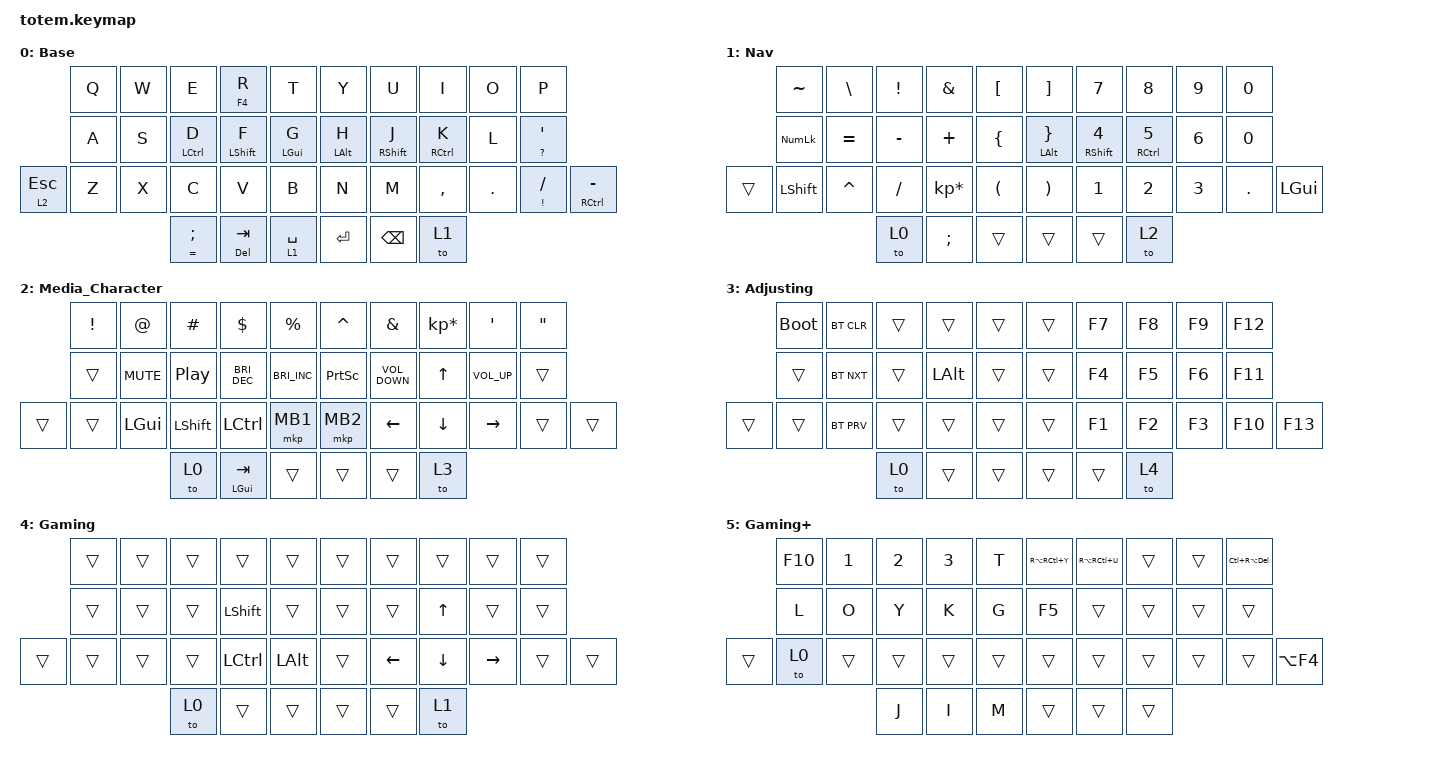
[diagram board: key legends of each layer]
//
//                                                        ▀▀▀▀▀     ▀▀▀▀▀          ▀▀█▀▀
//                                                        ▄▀▀▀▄  ▄  ▄▀▀▀▄  ▄  ▄▀▀▀▄  █  ▄▀▀▀▄
//                                                        █   █  █  █   █  █  █   █  █  █   █
//                                                         ▀▀▀   █   ▀▀▀   █   ▀▀▀   ▀   ▀▀▀
//                                                               █      ▄▄▄█▄▄▄    █   █  
//                                                               ▀      █  █  █     █▄█
//                                                             ▀▀▀▀▀    █  █  █      ▀
//                                                                      ▀  ▀  ▀
//
// ▄▄▄▄▄▄▄▄▄▄▄▄▄▄▄▄▄▄▄▄▄▄▄▄▄▄▄▄▄▄▄▄▄▄▄▄▄▄▄▄▄▄▄▄▄▄▄▄▄▄▄▄▄▄▄▄▄▄▄▄▄▄▄▄▄▄▄▄▄▄▄▄▄▄▄▄▄▄▄▄▄▄▄▄▄▄▄▄▄▄▄▄▄▄▄▄▄▄▄▄▄▄▄▄▄▄▄▄▄▄▄▄▄▄▄▄▄▄▄▄▄▄▄▄▄▄▄▄▄▄▄▄▄▄▄▄▄▄▄▄▄▄▄▄▄▄▄▄▄

#include <behaviors.dtsi>
#include <dt-bindings/zmk/bt.h>
#include <dt-bindings/zmk/keys.h>
#include <dt-bindings/zmk/mouse.h>

#define Base        0
#define Media       1
#define Nav         2
#define Mouse       3
#define Sym         4
#define Num         5
#define Fun         6
#define Button      7
#define Game        8
#define Gameplus    9

&mt {
    quick-tap-ms = <125>;
    global-quick-tap;
    flavor = "tap-preferred";
    tapping-term-ms = <215>;
};

&lt {
    tapping-term-ms = <240>;
    flavor = "balanced";
    quick-tap-ms = <150>;
};

/ {
    behaviors {
        hm: homerow_mods {
            compatible = "zmk,behavior-hold-tap";
            label = "HOMEROW_MODS";
            #binding-cells = <2>;
            flavor = "tap-preferred";
            tapping-term-ms = <215>;
            quick-tap-ms = <120>;
            global-quick-tap;
            bindings = <&kp>, <&kp>;
        };
    };

    combos {
        compatible = "zmk,combos";

        Copy {
            bindings = <&kp LC(C)>;
            key-positions = <23 22>;
        };

        Paste {
            bindings = <&kp LC(V)>;
            key-positions = <24 23>;
        };

        Undo {
            bindings = <&kp LC(Z)>;
            key-positions = <22 21>;
        };

        PrintScreen {
            bindings = <&kp PRINTSCREEN>;
            key-positions = <32 37>;
        };

        tab {
            bindings = <&kp TAB>;
            key-positions = <16 17>;
        };

        Windows {
            bindings = <&kp LEFT_GUI>;
            key-positions = <16 17 18>;
        };

        Control {
            bindings = <&kp LEFT_CONTROL>;
            key-positions = <17 18 19>;
        };

        up {
            bindings = <&kp UP_ARROW>;
            key-positions = <11 12 13>;
        };

        down {
            bindings = <&kp DOWN>;
            key-positions = <22 23 24>;
        };

        right {
            bindings = <&kp RIGHT>;
            key-positions = <12 13>;
        };

        left {
            bindings = <&kp LEFT>;
            key-positions = <11 12>;
        };

        ChangeLanguage {
            bindings = <&kp LG(SPACE)>;
            key-positions = <33 36>;
        };

        email {
            bindings = <&SchoolEmail>;
            key-positions = <12 13 16 17>;
        };

        personalemail {
            bindings = <&PersonalEmail>;
            key-positions = <11 13 16 18>;
        };

        semicolon {
            bindings = <&kp SEMICOLON>;
            key-positions = <12 17>;
        };
    };

    macros {
        SchoolEmail: email {
            compatible = "zmk,behavior-macro";
            #binding-cells = <0>;
            bindings = <&kp A &kp Y &kp N2 &kp N6 &kp N6 &kp N8 &kp AT &kp C &kp O &kp L &kp U &kp M &kp B &kp I &kp A &kp DOT &kp E &kp D &kp U>;
            label = "EMAIL";
        };

        PersonalEmail: PersonalEmail {
            compatible = "zmk,behavior-macro";
            #binding-cells = <0>;
            bindings = <&kp A &kp K &kp T &kp N1 &kp N2 &kp N1 &kp N5 &kp N8 &kp N0 &kp N1 &kp A &kp C &kp A &kp D &kp E &kp M &kp I &kp C &kp AT &kp G &kp M &kp A &kp I &kp L &kp DOT &kp C &kp O &kp M>;
            label = "PERSONALEMAIL";
        };
    };

    keymap {
        compatible = "zmk,keymap";

        Base {
            label = "Base";
            bindings = <
           &kp Q  &kp W  &kp E                &mt F4 R        &kp T             &kp Y           &kp U          &kp I        &kp O    &kp P
           &kp A  &kp S  &hm LCTRL D          &hm LSHIFT F    &hm LEFT_GUI G    &hm LEFT_ALT H  &hm RSHFT J    &hm RCTRL K  &kp L    &hm QUESTION SQT
&lt 2 ESC  &kp Z  &kp X  &kp C                &kp V           &kp B             &kp N           &kp M          &kp COMMA    &kp DOT  &mt EXCLAMATION SLASH  &hm RIGHT_CONTROL MINUS
                         &mt EQUAL SEMICOLON  &mt DELETE TAB  &lt 1 SPACE       &kp ENTER       &kp BACKSPACE  &to 1
            >;
        };

        Nav {
            label = "Nav";
            bindings = <
        &kp TILDE       &kp BACKSLASH  &kp EXCLAMATION  &kp AMPERSAND    &kp LEFT_BRACKET    &kp RIGHT_BRACKET         &kp NUMBER_7              &kp NUMBER_8          &kp NUMBER_9  &kp NUMBER_0
        &kp KP_NUM      &kp EQUAL      &kp MINUS        &kp PLUS         &kp LEFT_BRACE      &hm LEFT_ALT RIGHT_BRACE  &hm RIGHT_SHIFT NUMBER_4  &hm RIGHT_CONTROL N5  &kp N6        &kp N0
&trans  &kp LEFT_SHIFT  &kp CARET      &kp SLASH        &kp KP_MULTIPLY  &kp LPAR            &kp RPAR                  &kp NUMBER_1              &kp NUMBER_2          &kp NUMBER_3  &kp PERIOD    &kp LEFT_GUI
                                       &to 0            &kp SEMICOLON    &trans              &trans                    &trans                    &to 2
            >;
        };

        Media_Character {
            label = "Media_Character";
            bindings = <
        &kp EXCL  &kp AT        &kp HASH        &kp DOLLAR            &kp PERCENT             &kp CARET        &kp AMPERSAND      &kp KP_ASTERISK  &kp SQT          &kp DQT
        &trans    &kp C_MUTE    &kp C_PP        &kp C_BRIGHTNESS_DEC  &kp C_BRIGHTNESS_INC    &kp PRINTSCREEN  &kp C_VOLUME_DOWN  &kp UP           &kp C_VOLUME_UP  &trans
&trans  &trans    &kp LEFT_GUI  &kp LEFT_SHIFT  &kp LEFT_CONTROL      &mkp MB1                &mkp MB2         &kp LEFT           &kp DOWN         &kp RIGHT        &trans   &trans
                                &to 0           &mt LEFT_GUI TAB      &trans                  &trans           &trans             &to 3
            >;
        };

        Adjusting {
            label = "Adjusting";
            bindings = <
        &bootloader  &bt BT_CLR  &trans  &trans        &trans    &trans  &kp F7  &kp F8  &kp F9  &kp F12
        &trans       &bt BT_NXT  &trans  &kp LEFT_ALT  &trans    &trans  &kp F4  &kp F5  &kp F6  &kp F11
&trans  &trans       &bt BT_PRV  &trans  &trans        &trans    &trans  &kp F1  &kp F2  &kp F3  &kp F10  &kp F13
                                 &to 0   &trans        &trans    &trans  &trans  &to 4
            >;
        };

        Gaming {
            bindings = <
        &trans  &trans  &trans  &trans            &trans          &trans  &trans    &trans    &trans     &trans
        &trans  &trans  &trans  &kp LEFT_SHIFT    &trans          &trans  &trans    &kp UP    &trans     &trans
&trans  &trans  &trans  &trans  &kp LEFT_CONTROL  &kp LEFT_ALT    &trans  &kp LEFT  &kp DOWN  &kp RIGHT  &trans  &trans
                        &to 0   &trans            &trans          &trans  &trans    &to 1
            >;

            label = "Gaming";
        };

        Gaming+ {
            bindings = <
        &kp F10  &kp NUMBER_1  &kp NUMBER_2  &kp NUMBER_3  &kp T     &kp RA(RC(Y))  &kp RA(RC(U))  &trans  &trans  &kp LC(RA(DEL))
        &kp L    &kp O         &kp Y         &kp K         &kp G     &kp F5         &trans         &trans  &trans  &trans
&trans  &to 0    &trans        &trans        &trans        &trans    &trans         &trans         &trans  &trans  &trans           &kp LA(F4)
                               &kp J         &kp I         &kp M     &trans         &trans         &trans
            >;

            label = "Gaming+";
        };
    };
};

